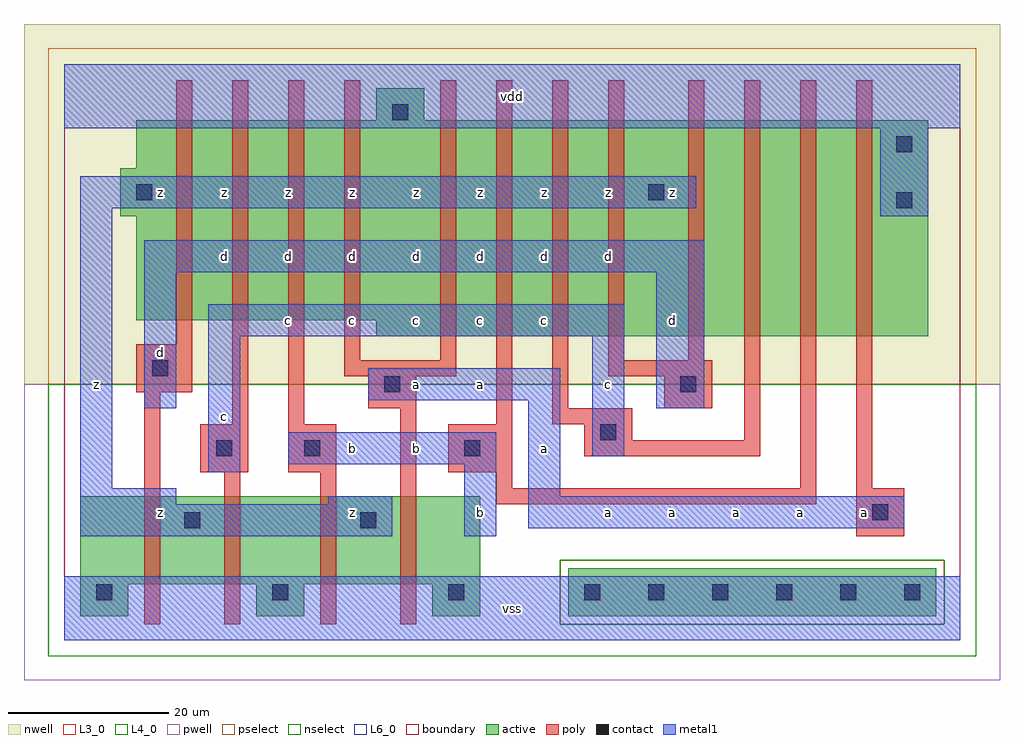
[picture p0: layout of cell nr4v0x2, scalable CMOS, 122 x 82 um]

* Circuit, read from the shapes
.subckt nr4v0x2 a b c d vdd vss z
M1 z d vss vss nfet w=11u l=2u
M2 vss c z vss nfet w=11u l=2u
M3 z b vss vss nfet w=11u l=2u
M4 vss a z vss nfet w=11u l=2u
M5 n1 d z n2 pfet w=25u l=2u
M6 n3 c n1 n2 pfet w=25u l=2u
M7 n4 b n3 n2 pfet w=25u l=2u
M8 vdd a n4 n2 pfet w=25u l=2u
M9 n5 a vdd n2 pfet w=27u l=2u
M10 n6 b n5 n2 pfet w=27u l=2u
M11 n7 c n6 n2 pfet w=27u l=2u
M12 z d n7 n2 pfet w=27u l=2u
M13 n8 d z n2 pfet w=27u l=2u
M14 n9 c n8 n2 pfet w=27u l=2u
M15 n10 b n9 n2 pfet w=27u l=2u
M16 vdd a n10 n2 pfet w=27u l=2u
.ends

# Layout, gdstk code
import gdstk
lib = gdstk.Library(unit=1e-6, precision=1e-09)
def R(c, l, rs):  # rectangles x0, y0, x1, y1
    for r in rs: c.add(gdstk.rectangle(r[:2], r[2:], *l))
def A(c, l, x, y, w, h, nx, ny, dx, dy):  # array of equal rectangles
    R(c, l, [(x+i*dx, y+j*dy, x+i*dx+w, y+j*dy+h) for i in range(nx) for j in range(ny)])
L3_0 = (3, 0)
L4_0 = (4, 0)
L6_0 = (6, 0)
contact = (25, 0)
pwell = (41, 0)
nwell = (42, 0)
active = (43, 0)
pselect = (44, 0)
nselect = (45, 0)
poly = (46, 0)
metal1 = (49, 0)
boundary = (63, 0)

nr4v0x2 = lib.new_cell('nr4v0x2')
A(nr4v0x2, L3_0, 2, 3, 6, 4, 3, 1, 22, 0)
R(nr4v0x2, L3_0, [(2,7,52,18)])
R(nr4v0x2, L4_0, [(39,38,108,40), (9,40,108,53), (7,53,108,59), (9,59,108,65), (39,65,45,69)])
R(nr4v0x2, L6_0, [(63,3,109,9)])
A(nr4v0x2, contact, 4, 5, 2, 2, 3, 1, 22, 0)
A(nr4v0x2, contact, 65, 5, 2, 2, 6, 1, 8, 0)
R(nr4v0x2, contact, [(15,14,17,16), (37,14,39,16), (101,15,103,17), (19,23,21,25), (30,23,32,25), (50,23,52,25), (67,25,69,27), (40,31,42,33), (77,31,79,33), (11,33,13,35), (104,54,106,56), (9,55,11,57), (73,55,75,57), (104,61,106,63), (41,65,43,67)])
R(nr4v0x2, pwell, [(-5,-5,117,32)])
R(nr4v0x2, nwell, [(-5,32,117,77)])
A(nr4v0x2, active, 2, 3, 6, 4, 3, 1, 22, 0)
R(nr4v0x2, active, [(63,3,109,9), (2,7,52,18), (39,38,108,40), (9,40,108,53), (7,53,108,59), (9,59,108,65), (39,65,45,69)])
R(nr4v0x2, pselect, [(62,2,110,10), (-2,32,114,74)])
R(nr4v0x2, nselect, [(-2,-2,114,2), (-2,2,62,10), (110,2,114,10), (-2,10,114,32)])
R(nr4v0x2, poly, [(10,2,12,31), (20,2,22,21), (32,2,34,21), (42,2,44,29), (99,13,105,19), (54,17,94,19), (54,19,56,21), (92,19,94,70), (99,19,101,70), (17,21,23,27), (28,21,34,27), (48,21,56,27), (65,23,87,25), (65,25,71,27), (85,25,87,70), (21,27,23,70), (28,27,30,70), (54,27,56,70), (61,27,71,29), (38,29,44,33), (61,29,63,70), (75,29,81,33), (9,31,16,37), (35,33,49,35), (68,33,81,35), (35,35,37,70), (47,35,49,70), (68,35,70,70), (78,35,80,70), (14,37,16,70)])
R(nr4v0x2, metal1, [(0,0,112,8), (2,13,41,17), (50,13,54,22), (58,14,105,18), (2,17,14,19), (33,17,41,18), (58,18,62,30), (2,19,6,54), (18,21,22,38), (28,22,54,26), (66,23,70,38), (10,29,14,46), (74,29,80,46), (38,30,62,34), (18,38,70,42), (10,46,80,50), (102,53,108,64), (2,54,79,58), (0,64,112,72)])
R(nr4v0x2, boundary, [(0,0,112,72)])
nr4v0x2.add(gdstk.Label('z', (12,16), layer=49, texttype=0))
nr4v0x2.add(gdstk.Label('z', (4,32), layer=49, texttype=0))
nr4v0x2.add(gdstk.Label('d', (12,36), layer=49, texttype=0))
nr4v0x2.add(gdstk.Label('z', (12,56), layer=49, texttype=0))
nr4v0x2.add(gdstk.Label('z', (36,16), layer=49, texttype=0))
nr4v0x2.add(gdstk.Label('b', (36,24), layer=49, texttype=0))
nr4v0x2.add(gdstk.Label('c', (20,28), layer=49, texttype=0))
nr4v0x2.add(gdstk.Label('c', (28,40), layer=49, texttype=0))
nr4v0x2.add(gdstk.Label('c', (36,40), layer=49, texttype=0))
nr4v0x2.add(gdstk.Label('d', (20,48), layer=49, texttype=0))
nr4v0x2.add(gdstk.Label('d', (28,48), layer=49, texttype=0))
nr4v0x2.add(gdstk.Label('d', (36,48), layer=49, texttype=0))
nr4v0x2.add(gdstk.Label('z', (28,56), layer=49, texttype=0))
nr4v0x2.add(gdstk.Label('z', (36,56), layer=49, texttype=0))
nr4v0x2.add(gdstk.Label('z', (20,56), layer=49, texttype=0))
nr4v0x2.add(gdstk.Label('vss', (56,4), layer=49, texttype=0))
nr4v0x2.add(gdstk.Label('b', (52,16), layer=49, texttype=0))
nr4v0x2.add(gdstk.Label('b', (44,24), layer=49, texttype=0))
nr4v0x2.add(gdstk.Label('a', (60,24), layer=49, texttype=0))
nr4v0x2.add(gdstk.Label('a', (52,32), layer=49, texttype=0))
nr4v0x2.add(gdstk.Label('a', (44,32), layer=49, texttype=0))
nr4v0x2.add(gdstk.Label('c', (44,40), layer=49, texttype=0))
nr4v0x2.add(gdstk.Label('c', (52,40), layer=49, texttype=0))
nr4v0x2.add(gdstk.Label('c', (60,40), layer=49, texttype=0))
nr4v0x2.add(gdstk.Label('d', (44,48), layer=49, texttype=0))
nr4v0x2.add(gdstk.Label('d', (52,48), layer=49, texttype=0))
nr4v0x2.add(gdstk.Label('d', (60,48), layer=49, texttype=0))
nr4v0x2.add(gdstk.Label('z', (52,56), layer=49, texttype=0))
nr4v0x2.add(gdstk.Label('z', (60,56), layer=49, texttype=0))
nr4v0x2.add(gdstk.Label('z', (44,56), layer=49, texttype=0))
nr4v0x2.add(gdstk.Label('vdd', (56,68), layer=49, texttype=0))
nr4v0x2.add(gdstk.Label('a', (76,16), layer=49, texttype=0))
nr4v0x2.add(gdstk.Label('a', (84,16), layer=49, texttype=0))
nr4v0x2.add(gdstk.Label('a', (68,16), layer=49, texttype=0))
nr4v0x2.add(gdstk.Label('c', (68,32), layer=49, texttype=0))
nr4v0x2.add(gdstk.Label('d', (76,40), layer=49, texttype=0))
nr4v0x2.add(gdstk.Label('d', (68,48), layer=49, texttype=0))
nr4v0x2.add(gdstk.Label('z', (76,56), layer=49, texttype=0))
nr4v0x2.add(gdstk.Label('z', (68,56), layer=49, texttype=0))
nr4v0x2.add(gdstk.Label('a', (100,16), layer=49, texttype=0))
nr4v0x2.add(gdstk.Label('a', (92,16), layer=49, texttype=0))

lib.write_gds('nr4v0x2.gds')
